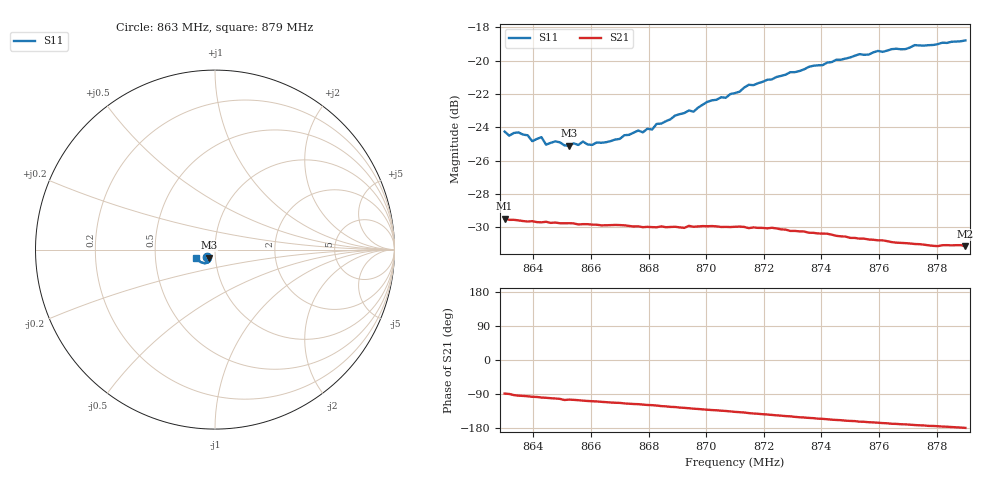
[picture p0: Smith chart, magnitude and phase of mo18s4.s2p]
# HZ S RI R 50
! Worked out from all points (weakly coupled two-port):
!   101 points, 863 MHz to 879 MHz, reference 50 ohm
!   highest |S21| = -29.47 dB at 863 MHz (marker M1); lowest = -31.1 dB at 879 MHz (marker M2)
!   lowest |S11| = -25.1 dB at 865.24 MHz (marker M3), VSWR 1.12, Z = 46.6 - j4.12 ohm
!   |S11| at or under -10 dB: start of sweep to end of sweep
!   S12 and S22 are empty: the file has one direction only
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8.63e8  -0.044 -0.0427  0.000815 -0.0336  0 0  0 0
8.6316e8  -0.0417 -0.0426  0.000234 -0.0333  0 0  0 0
8.6348e8  -0.0428 -0.0434  -0.00234 -0.0331  0 0  0 0
8.638e8  -0.0407 -0.0437  -0.00324 -0.0328  0 0  0 0
8.6396e8  -0.0391 -0.042  -0.00408 -0.0328  0 0  0 0
8.6428e8  -0.0387 -0.0445  -0.00518 -0.0323  0 0  0 0
8.6444e8  -0.0361 -0.0428  -0.00554 -0.0324  0 0  0 0
8.6476e8  -0.0362 -0.0444  -0.00653 -0.032  0 0  0 0
8.6524e8  -0.0338 -0.0442  -0.00817 -0.0315  0 0  0 0
8.6572e8  -0.0318 -0.0476  -0.0096 -0.0309  0 0  0 0
8.6604e8  -0.03 -0.0472  -0.0104 -0.0305  0 0  0 0
8.6652e8  -0.028 -0.0496  -0.0116 -0.0299  0 0  0 0
8.6764e8  -0.0286 -0.0547  -0.0142 -0.0285  0 0  0 0
8.6812e8  -0.0272 -0.0559  -0.0154 -0.0277  0 0  0 0
8.6828e8  -0.028 -0.0583  -0.0159 -0.0274  0 0  0 0
8.6844e8  -0.0277 -0.0585  -0.0167 -0.0271  0 0  0 0
8.7004e8  -0.0333 -0.0675  -0.021 -0.024  0 0  0 0
8.71e8  -0.0374 -0.0707  -0.0232 -0.0217  0 0  0 0
8.7148e8  -0.042 -0.0736  -0.0241 -0.0202  0 0  0 0
8.7372e8  -0.0592 -0.0764  -0.0273 -0.0136  0 0  0 0
8.7644e8  -0.0861 -0.0658  -0.028 -0.00579  0 0  0 0
8.79e8  -0.106 -0.0447  -0.0278 -0.000392  0 0  0 0
